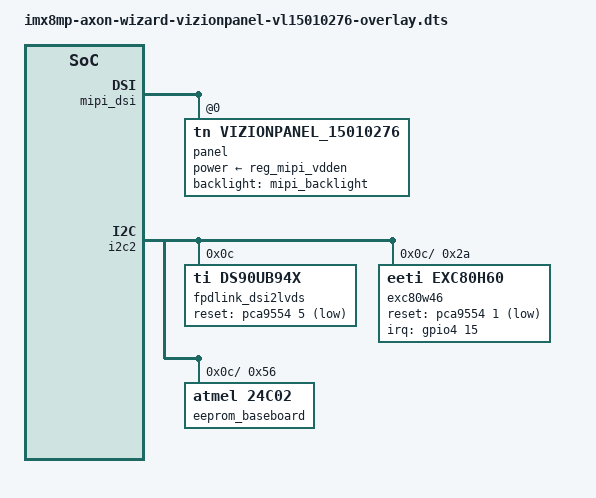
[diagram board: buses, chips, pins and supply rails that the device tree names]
// SPDX-License-Identifier: (GPL-2.0+ OR MIT)
/*
 * Copyright 2020 TechNexion Ltd.
 *
 * Author: Richard Hu <richard.hu@technexion.com>
 *
 */

/dts-v1/;
/plugin/;

#include <dt-bindings/interrupt-controller/irq.h>
#include <dt-bindings/gpio/gpio.h>

/ {
	fragment@0 {
		target-path = "/";
		__overlay__ {
			reg_mipi_pwr: regulator_mipipwr {
				regulator-always-on;
				status = "okay";
			};

			reg_mipi_vdden: regulator_mipivdden {
				regulator-always-on;
				status = "okay";
			};

			mipi_backlight: mipi_backlight {
				status = "okay";
			};

			reg_mipi_bl_en: regulator_mipiblen {
				regulator-always-on;
				status = "okay";
			};
		};
	};

	fragment@1 {
		target = <&mipi_dsi>;
		__overlay__ {
			status = "okay";
			#address-cells = <1>;
			#size-cells = <0>;

			panel@0 {
				compatible = "tn,vizionpanel_15010276";
				backlight = <&mipi_backlight>;
				power-supply = <&reg_mipi_vdden>;
				reg = <0>;
				status = "okay";
			};
		};
	};

	fragment@2 {
		target = <&i2c2>;
		__overlay__ {
			#address-cells = <1>;
			#size-cells = <0>;
			status = "okay";

			fpdlink_dsi2lvds: ds90ub948@c {
				compatible = "ti,ds90ub94x";
				reg = <0x0c>;
				status = "okay";
				reset-gpios = <&pca9554 5 GPIO_ACTIVE_LOW>;
				vizionpanel-remote-gpio;
				dsi-delay = <2500>;
				i2c-alias-pool = <0x48 0x49 0x4a 0x4b 0x4c 0x4d 0x4e 0x4f>;

				i2c {
					#address-cells = <1>;
					#size-cells = <0>;

					exc80w46: touchscreen@2a {
						compatible = "eeti,exc80h60";
						pinctrl-names = "default";
						pinctrl-0 = <&pinctrl_ft5336_touch_irq>;
						reg = <0x2a>;
						interrupt-parent = <&gpio4>;
						interrupts = <15 IRQ_TYPE_LEVEL_LOW>;
						reset-gpios = <&pca9554 1 GPIO_ACTIVE_LOW>;
						status = "okay";
					};

					eeprom_baseboard: eeprom@56 {
						compatible = "atmel,24c02";
						reg = <0x56>;
						pagesize = <16>;
						status = "okay";
					};
				};
			};
		};
	};
};
